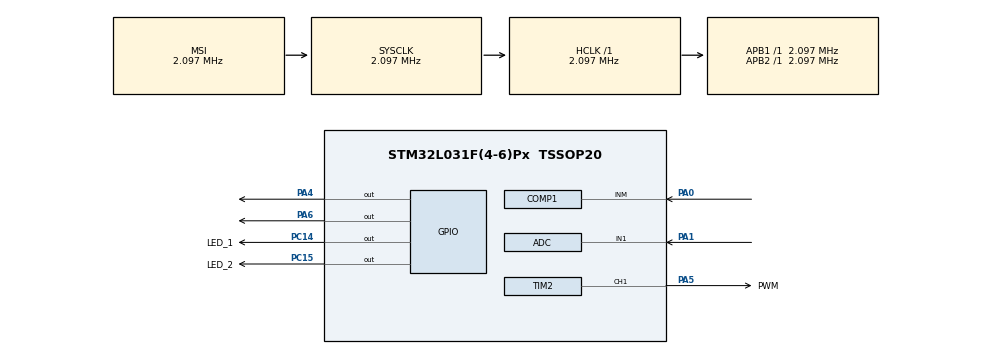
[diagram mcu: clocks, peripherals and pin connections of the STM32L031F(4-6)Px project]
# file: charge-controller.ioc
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ADC.ClockPrescaler=ADC_CLOCK_SYNC_PCLK_DIV2
ADC.ContinuousConvMode=ENABLE
ADC.DMAContinuousRequests=ENABLE
ADC.Overrun=ADC_OVR_DATA_OVERWRITTEN
ADC.SamplingTime=ADC_SAMPLETIME_79CYCLES_5
COMP1.OutputPol=COMP_OUTPUTPOL_INVERTED
COMP1.TriggerMode=COMP_TRIGGERMODE_IT_RISING_FALLING
Dma.ADC.0.Direction=DMA_PERIPH_TO_MEMORY
Dma.ADC.0.Instance=DMA1_Channel1
Dma.ADC.0.MemDataAlignment=DMA_MDATAALIGN_HALFWORD
Dma.ADC.0.MemInc=DMA_MINC_ENABLE
Dma.ADC.0.Mode=DMA_CIRCULAR
Dma.ADC.0.PeriphDataAlignment=DMA_PDATAALIGN_HALFWORD
Dma.ADC.0.PeriphInc=DMA_PINC_DISABLE
Dma.ADC.0.Priority=DMA_PRIORITY_MEDIUM
Dma.Request0=ADC
Mcu.Family=STM32L0
Mcu.Name=STM32L031F(4-6)Px
Mcu.Package=TSSOP20
NVIC.ADC1_COMP_IRQn=true\:0\:0\:false\:false\:true\:true\:true
NVIC.DMA1_Channel1_IRQn=true\:0\:0\:false\:false\:true\:false\:true
PA0-CK_IN.Mode=INM
PA0-CK_IN.Signal=COMP1_INM
PA1.Signal=SharedAnalog_PA1
PA13.Mode=Serial_Wire
PA13.Signal=SYS_SWDIO
PA14.Mode=Serial_Wire
PA14.Signal=SYS_SWCLK
PA4.Signal=GPIO_Output
PA5.GPIO_Label=PWM
PA5.Signal=S_TIM2_CH1
PA6.Signal=GPIO_Output
PC14-OSC32_IN.GPIO_Label=LED_1
PC14-OSC32_IN.Signal=GPIO_Output
PC15-OSC32_OUT.GPIO_Label=LED_2
PC15-OSC32_OUT.Signal=GPIO_Output
ProjectManager.HeapSize=0x200
ProjectManager.StackSize=0x400
ProjectManager.TargetToolchain=STM32CubeIDE
RCC.AHBFreq_Value=2097000
RCC.APB1Freq_Value=2097000
RCC.APB1TimFreq_Value=2097000
RCC.APB2Freq_Value=2097000
RCC.APB2TimFreq_Value=2097000
RCC.HCLKFreq_Value=2097000
RCC.HSE_VALUE=8000000
RCC.HSI16_VALUE=16000000
RCC.HSI_VALUE=16000000
RCC.LSE_VALUE=32768
RCC.MSI_VALUE=2097000
RCC.SYSCLKFreq_VALUE=2097000
RCC.Usart2ClockSelection=RCC_USART2CLKSOURCE_SYSCLK
RCC.VCOOutputFreq_Value=48000000
SH.S_TIM2_CH1.0=TIM2_CH1,PWM Generation1 CH1
SH.SharedAnalog_PA1.0=ADC_IN1,IN1
SH.SharedAnalog_PA1.1=COMP1_INP,INP
TIM2.Channel-PWM\ Generation1\ CH1=TIM_CHANNEL_1
TIM2.ClockDivision=TIM_CLOCKDIVISION_DIV1
TIM2.Period=1000
TIM2.Prescaler=15
TIM2.Pulse-PWM\ Generation1\ CH1=500
VP_TIM2_VS_ClockSourceINT.Mode=Internal
board=custom

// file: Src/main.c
/* USER CODE BEGIN Header */
/**
  ******************************************************************************
  * @file           : main.c
  * @brief          : Main program body
  ******************************************************************************
  * @attention
  *
  * <h2><center>&copy; Copyright (c) 2019 STMicroelectronics.
  * All rights reserved.</center></h2>
  *
  * This software component is licensed by ST under BSD 3-Clause license,
  * the "License"; You may not use this file except in compliance with the
  * License. You may obtain a copy of the License at:
  *                        opensource.org/licenses/BSD-3-Clause
  *
  ******************************************************************************
  */
/* USER CODE END Header */

#include "main.h"
#include "adc.h"
#include "comp.h"
#include "dma.h"
#include "tim.h"
#include "gpio.h"

/* USER CODE BEGIN Includes */

#include "string.h"
#include "stdio.h"

#include "led.h"

/* USER CODE END Includes */

/* USER CODE BEGIN PD */

/* Definition of ADCx conversions data table size */
#define ADC_CONVERTED_DATA_BUFFER_SIZE   ((uint32_t)  512)   /* Size of array aADCxConvertedData[] */

#define TXBUFFERSIZE 128
#define READING_INDEX_LENGTH 4

/* USER CODE END PD */

/* USER CODE BEGIN PV */
/* Variable containing ADC conversions data */
static uint16_t aADCxConvertedData[ADC_CONVERTED_DATA_BUFFER_SIZE];
static uint16_t avgPA1;
/* The comparator sets/resets this variable when comparing PA0 & PA1 */
volatile uint8_t comparator = 0;

/* Buffer used for debug UART */
char tx_buffer[TXBUFFERSIZE];
uint8_t msg_id = 0;

uint32_t tx_last;
uint32_t panel_mv = 0;
uint32_t battery_mv = 0;

LED_HandleTypeDef led1;
LED_HandleTypeDef led2;

/* USER CODE END PV */

void SystemClock_Config(void);

int main(void)
{

  /* MCU Configuration--------------------------------------------------------*/

  /* Reset of all peripherals, Initializes the Flash interface and the Systick. */
  HAL_Init();

  /* Configure the system clock */
  SystemClock_Config();

  /* Initialize all configured peripherals */
  MX_GPIO_Init();
  MX_DMA_Init();
  MX_TIM2_Init();
  MX_ADC_Init();
  MX_COMP1_Init();
  /* USER CODE BEGIN 2 */

  LED_Init(&led1, GPIOC, LED_1_Pin);
  led1.onDuration = 100;
  led1.offDuration = 900;

  LED_Init(&led2, GPIOC, LED_2_Pin);
  led2.offDuration = 500;
  LED_on(&led2);

  if (HAL_ADCEx_Calibration_Start(&hadc, ADC_SINGLE_ENDED) !=  HAL_OK)
  {
    Error_Handler();
  }

  HAL_COMP_Start(&hcomp1);

  /* Start conversion in DMA mode ################################# */
  if (HAL_ADC_Start_DMA(&hadc,
                        (uint32_t *)aADCxConvertedData,
                        ADC_CONVERTED_DATA_BUFFER_SIZE
                       ) != HAL_OK)
  {
    Error_Handler();
  }

  htim2.Instance->CCR1 = 0;
  HAL_TIM_PWM_Start(&htim2, TIM_CHANNEL_1);

  // This is the driver pin for connecting the battery to the adc.
  // So the battery can always be connected but present no voltage
  // to the adc until it is powered.
  HAL_GPIO_WritePin(GPIOA, GPIO_PIN_4, GPIO_PIN_SET);

  /* USER CODE END 2 */

  /* Infinite loop */
  while (1)
  {

    /* USER CODE BEGIN 3 */

	  uint32_t tmpAvgPA1 = 0;
	  uint16_t i = 0;
	  while (i < ADC_CONVERTED_DATA_BUFFER_SIZE) {
		  /* PA1 is the battery */
		  tmpAvgPA1 += aADCxConvertedData[i];
		  i++;
	  }
	  // Use the average.
 	  avgPA1 = tmpAvgPA1 / ADC_CONVERTED_DATA_BUFFER_SIZE;

	  // 2330 = 13519 = 5.802145923 per bit
 	  // 13609 = 2327 = 5.848302535
 	  // 2310 13523 5.854112554
	  battery_mv = (avgPA1 * 5854) / 1000;

	  // If the comparator says the panel is a higher voltage than the battery
	  // then charge.
	  if (comparator) {
		  if (battery_mv > 13510) {
			  if (htim2.Instance->CCR1 > 0) {
				  htim2.Instance->CCR1 -= 1;
			  }
		  } else if (battery_mv < 13490){
			  if (htim2.Instance->CCR1 < 1000) {
				  htim2.Instance->CCR1 += 1;
			  }
		  }
	  } else {
		  // Not enough to do charging.
		  htim2.Instance->CCR1 = 0;
	  }

	  /* Set the leds */
	  if (htim2.Instance->CCR1 == 1000) {
		  LED_on(&led2);
	  } else if (htim2.Instance->CCR1 == 0) {
		  LED_off(&led2);
	  } else {
		  led2.onDuration = htim2.Instance->CCR1;
		  LED_flash(&led2);
	  }

	  /* A continual flash to indicate powered on */
	  LED_flash(&led1);

	 // HAL_Delay(20);

//	  uint32_t now = HAL_GetTick();
//	  if (now - tx_last >= 500) {
//		  tx_last = now;
//		  int tx_len = snprintf(
//				  tx_buffer,
//				  TXBUFFERSIZE,
//				  "msg_id:%d, batt:%lu, panel:%lu, ccr:%lu \n",
//				  msg_id++,
//				  battery_mv,
//				  panel_mv,
//				  htim2.Instance->CCR1
//		  );
//		  HAL_UART_Transmit(&huart2, (uint8_t *)tx_buffer, tx_len, 500);
//	  }

  }
  /* USER CODE END 3 */
}

void SystemClock_Config(void)
{
  RCC_OscInitTypeDef RCC_OscInitStruct = {0};
  RCC_ClkInitTypeDef RCC_ClkInitStruct = {0};

  /** Configure the main internal regulator output voltage
  */
  __HAL_PWR_VOLTAGESCALING_CONFIG(PWR_REGULATOR_VOLTAGE_SCALE1);
  /** Initializes the CPU, AHB and APB busses clocks
  */
  RCC_OscInitStruct.OscillatorType = RCC_OSCILLATORTYPE_MSI;
  RCC_OscInitStruct.MSIState = RCC_MSI_ON;
  RCC_OscInitStruct.MSICalibrationValue = 0;
  RCC_OscInitStruct.MSIClockRange = RCC_MSIRANGE_5;
  RCC_OscInitStruct.PLL.PLLState = RCC_PLL_NONE;
  if (HAL_RCC_OscConfig(&RCC_OscInitStruct) != HAL_OK)
  {
    Error_Handler();
  }
  /** Initializes the CPU, AHB and APB busses clocks
  */
  RCC_ClkInitStruct.ClockType = RCC_CLOCKTYPE_HCLK|RCC_CLOCKTYPE_SYSCLK
                              |RCC_CLOCKTYPE_PCLK1|RCC_CLOCKTYPE_PCLK2;
  RCC_ClkInitStruct.SYSCLKSource = RCC_SYSCLKSOURCE_MSI;
  RCC_ClkInitStruct.AHBCLKDivider = RCC_SYSCLK_DIV1;
  RCC_ClkInitStruct.APB1CLKDivider = RCC_HCLK_DIV1;
  RCC_ClkInitStruct.APB2CLKDivider = RCC_HCLK_DIV1;

  if (HAL_RCC_ClockConfig(&RCC_ClkInitStruct, FLASH_LATENCY_0) != HAL_OK)
  {
    Error_Handler();
  }
}

/* USER CODE BEGIN 4 */

void HAL_COMP_TriggerCallback(COMP_HandleTypeDef *hcomp) {
	if (HAL_COMP_GetOutputLevel(hcomp)) {
		comparator = 1;
	} else {
		comparator = 0;
	}
}

/* USER CODE END 4 */

void Error_Handler(void)
{
}

/************************ (C) COPYRIGHT STMicroelectronics *****END OF FILE****/
